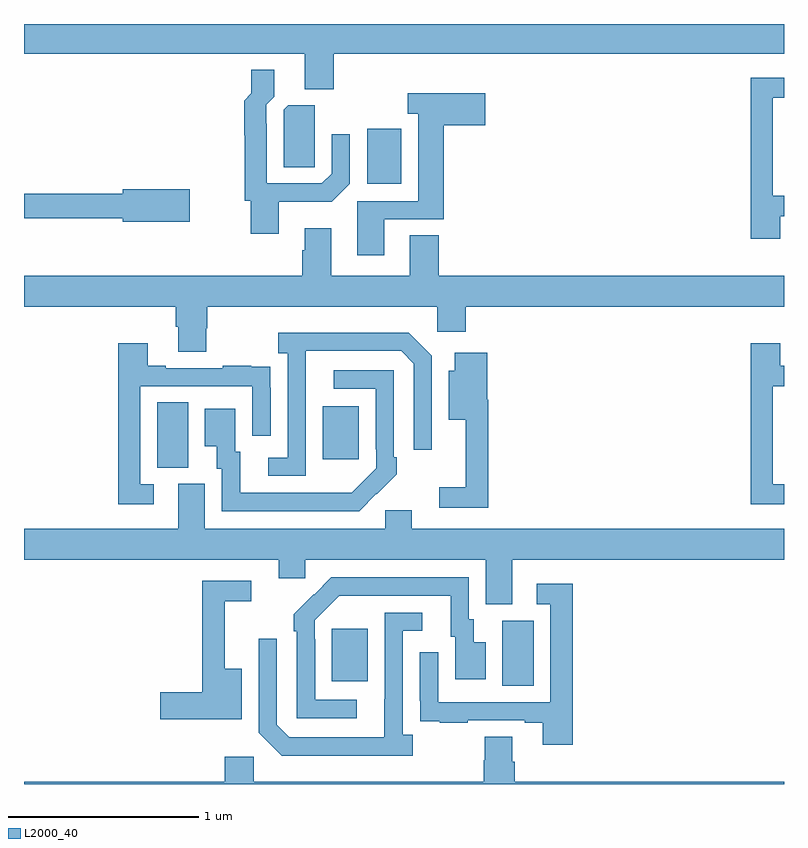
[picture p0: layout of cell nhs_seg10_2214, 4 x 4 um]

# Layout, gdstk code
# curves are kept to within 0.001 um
import gdstk
lib = gdstk.Library(unit=1e-6, precision=1e-09)
def R(c, l, rs):  # rectangles x0, y0, x1, y1
    for r in rs: c.add(gdstk.rectangle(r[:2], r[2:], *l))
def P(c, l, *ps):  # polygons
    for p in ps: c.add(gdstk.Polygon(p, *l))
L2000_40 = (2000, 40)

nhs_seg10_2214 = lib.new_cell('nhs_seg10_2214')
R(nhs_seg10_2214, L2000_40, [(231.518,1269.016,231.682,1269.36), (230.621,1269.041,230.809,1269.316), (229.7,1270.165,229.864,1270.508), (230.573,1270.209,230.761,1270.489), (230.807,1271.66,230.986,1271.95)])
P(nhs_seg10_2214, L2000_40, [(230.63,1272.344),(233,1272.344),(233,1272.5),(229,1272.5),(229,1272.344),(230.477,1272.344),(230.477,1272.157),(230.63,1272.157)],
  [(230.341,1271.564),(230.621,1271.564),(230.715,1271.658),(230.715,1271.92),(230.619,1271.92),(230.619,1271.712),(230.568,1271.661),(230.277,1271.661),(230.277,1271.975),(230.274,1271.975),(230.274,1272.075),(230.317,1272.118),(230.317,1272.259),(230.197,1272.259),(230.197,1272.135),(230.159,1272.096),(230.159,1271.914),(230.161,1271.914),(230.161,1271.571),(230.194,1271.571),(230.194,1271.397),(230.341,1271.397)],
  [(232.981,1271.487),(233,1271.487),(233,1271.595),(232.941,1271.595),(232.941,1272.111),(233,1272.111),(233,1272.217),(232.825,1272.217),(232.825,1271.37),(232.981,1271.37)],
  [(230.896,1271.472),(231.209,1271.472),(231.209,1271.966),(231.427,1271.966),(231.427,1272.135),(231.021,1272.135),(231.021,1272.027),(231.074,1272.027),(231.074,1271.568),(230.753,1271.568),(230.753,1271.283),(230.896,1271.283)],
  [(230.529,1271.857),(230.53,1271.857),(230.53,1272.072),(230.391,1272.072),(230.367,1272.048),(230.367,1271.746),(230.529,1271.746)],
  [(229.873,1271.63),(229.52,1271.63),(229.52,1271.606),(229,1271.606),(229,1271.478),(229.52,1271.478),(229.52,1271.459),(229.873,1271.459)],
  [(229.959,1270.899),(229.964,1270.899),(229.964,1271.012),(231.174,1271.012),(231.174,1270.881),(231.326,1270.881),(231.326,1271.012),(233,1271.012),(233,1271.176),(231.182,1271.176),(231.182,1271.387),(231.029,1271.387),(231.029,1271.176),(230.617,1271.176),(230.617,1271.425),(230.477,1271.425),(230.477,1271.309),(230.465,1271.309),(230.465,1271.176),(229,1271.176),(229,1271.012),(229.799,1271.012),(229.799,1270.906),(229.811,1270.906),(229.811,1270.774),(229.959,1270.774)],
  [(230.484,1270.779),(230.985,1270.779),(231.051,1270.713),(231.051,1270.26),(231.147,1270.26),(231.147,1270.755),(231.026,1270.876),(230.337,1270.876),(230.337,1270.766),(230.388,1270.766),(230.388,1270.218),(230.286,1270.218),(230.286,1270.122),(230.484,1270.122)],
  [(233,1270.077),(232.941,1270.077),(232.941,1270.593),(233,1270.593),(233,1270.702),(232.981,1270.702),(232.981,1270.819),(232.825,1270.819),(232.825,1269.972),(233,1269.972)],
  [(229.684,1270.077),(229.611,1270.077),(229.611,1270.593),(230.202,1270.593),(230.202,1270.332),(230.298,1270.332),(230.298,1270.586),(230.297,1270.586),(230.297,1270.695),(230.195,1270.695),(230.195,1270.702),(230.047,1270.702),(230.047,1270.689),(229.747,1270.689),(229.747,1270.702),(229.651,1270.702),(229.651,1270.819),(229.495,1270.819),(229.495,1269.972),(229.684,1269.972)],
  [(231.443,1270.522),(231.437,1270.522),(231.437,1270.771),(231.266,1270.771),(231.266,1270.675),(231.236,1270.675),(231.236,1270.418),(231.326,1270.418),(231.326,1270.063),(231.186,1270.063),(231.186,1269.954),(231.443,1269.954)],
  [(230.855,1270.027),(230.856,1270.026),(230.961,1270.131),(230.961,1270.219),(230.946,1270.219),(230.946,1270.677),(230.631,1270.677),(230.631,1270.581),(230.85,1270.581),(230.85,1270.261),(230.853,1270.261),(230.853,1270.161),(230.725,1270.033),(230.137,1270.032),(230.137,1270.248),(230.113,1270.248),(230.113,1270.474),(229.952,1270.474),(229.952,1270.277),(230.015,1270.277),(230.015,1270.158),(230.04,1270.158),(230.04,1269.936),(230.764,1269.936)],
  [(231.571,1269.68),(233,1269.68),(233,1269.844),(231.04,1269.844),(231.04,1269.942),(230.901,1269.942),(230.901,1269.844),(229.951,1269.844),(229.951,1270.08),(229.811,1270.08),(229.811,1269.844),(229,1269.844),(229,1269.68),(230.342,1269.68),(230.342,1269.582),(230.481,1269.582),(230.481,1269.68),(231.431,1269.68),(231.431,1269.445),(231.571,1269.445)],
  [(230.752,1268.943),(230.532,1268.943),(230.532,1269.263),(230.529,1269.263),(230.529,1269.363),(230.658,1269.492),(231.245,1269.492),(231.245,1269.276),(231.269,1269.276),(231.269,1269.051),(231.43,1269.051),(231.43,1269.247),(231.367,1269.247),(231.367,1269.366),(231.342,1269.366),(231.342,1269.588),(230.618,1269.588),(230.421,1269.393),(230.421,1269.305),(230.436,1269.305),(230.436,1268.847),(230.752,1268.847)],
  [(230.146,1269.106),(230.057,1269.106),(230.057,1269.462),(230.197,1269.462),(230.197,1269.57),(229.939,1269.57),(229.939,1268.984),(229.716,1268.984),(229.716,1268.842),(230.146,1268.842)],
  [(231.887,1269.553),(231.699,1269.553),(231.699,1269.447),(231.771,1269.447),(231.771,1268.931),(231.18,1268.931),(231.18,1269.193),(231.084,1269.193),(231.084,1268.938),(231.085,1268.938),(231.085,1268.829),(231.187,1268.829),(231.187,1268.823),(231.335,1268.823),(231.335,1268.835),(231.635,1268.835),(231.635,1268.823),(231.731,1268.823),(231.731,1268.706),(231.887,1268.706)],
  [(231.046,1268.758),(230.994,1268.758),(230.994,1269.306),(231.097,1269.306),(231.097,1269.402),(230.898,1269.402),(230.897,1268.745),(230.397,1268.745),(230.331,1268.811),(230.331,1269.265),(230.235,1269.265),(230.235,1268.769),(230.356,1268.648),(231.046,1268.648)],
  [(231.424,1268.75),(231.424,1268.625),(231.419,1268.625),(231.419,1268.512),(230.208,1268.512),(230.208,1268.644),(230.057,1268.644),(230.057,1268.512),(229,1268.512),(229,1268.5),(233,1268.5),(233,1268.512),(231.584,1268.512),(231.584,1268.618),(231.571,1268.618),(231.571,1268.75)])

lib.write_gds('nhs_seg10_2214.gds')
